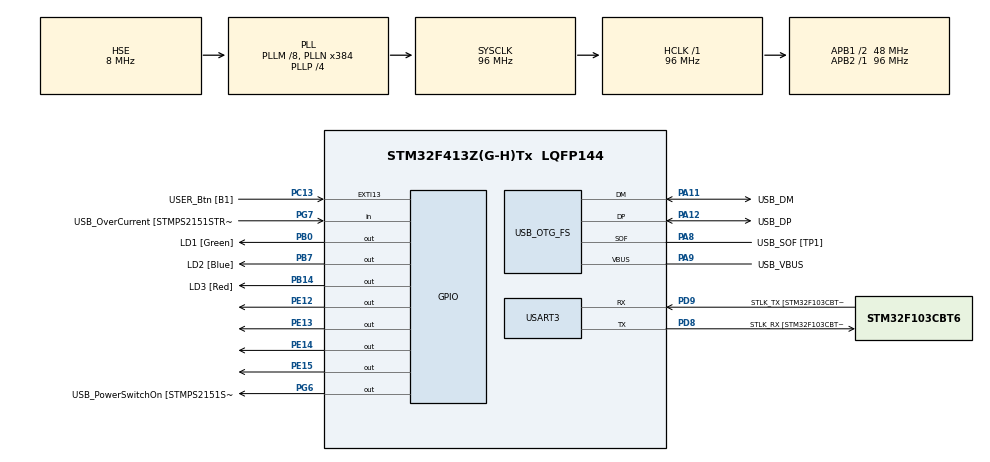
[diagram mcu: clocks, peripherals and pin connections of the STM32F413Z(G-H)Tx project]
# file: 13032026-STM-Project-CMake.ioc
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FREERTOS.Tasks01=defaultTask,24,128,StartDefaultTask,Default,NULL,Dynamic,NULL,NULL;myTaskTest02,8,128,StartTaskTest02,Default,NULL,Dynamic,NULL,NULL
FREERTOS.configUSE_APPLICATION_TASK_TAG=1
Mcu.Family=STM32F4
Mcu.Name=STM32F413Z(G-H)Tx
Mcu.Package=LQFP144
NVIC.PriorityGroup=NVIC_PRIORITYGROUP_4
NVIC.TIM7_IRQn=true\:15\:0\:false\:false\:true\:false\:false\:true\:true
NVIC.TimeBase=TIM7_IRQn
NVIC.TimeBaseIP=TIM7
PA10.GPIO_Label=USB_ID
PA10.Signal=USB_OTG_FS_ID
PA11.GPIO_Label=USB_DM
PA11.Mode=Device_Only
PA11.Signal=USB_OTG_FS_DM
PA12.GPIO_Label=USB_DP
PA12.Mode=Device_Only
PA12.Signal=USB_OTG_FS_DP
PA13.GPIO_Label=TMS
PA13.Mode=Serial_Wire
PA13.Signal=SYS_JTMS-SWDIO
PA14.GPIO_Label=TCK
PA14.Mode=Serial_Wire
PA14.Signal=SYS_JTCK-SWCLK
PA8.GPIO_Label=USB_SOF [TP1]
PA8.Mode=Activate_SOF_FS
PA8.Signal=USB_OTG_FS_SOF
PA9.GPIO_Label=USB_VBUS
PA9.Mode=Activate_VBUS
PA9.Signal=USB_OTG_FS_VBUS
PB0.GPIO_Label=LD1 [Green]
PB0.Signal=GPIO_Output
PB14.GPIO_Label=LD3 [Red]
PB14.Signal=GPIO_Output
PB3.GPIO_Label=SWO
PB3.Signal=SYS_JTDO-SWO
PB7.GPIO_Label=LD2 [Blue]
PB7.Signal=GPIO_Output
PC13.GPIO_Label=USER_Btn [B1]
PC13.Signal=GPXTI13
PC14-OSC32_IN.Mode=LSE-External-Oscillator
PC14-OSC32_IN.Signal=RCC_OSC32_IN
PC15-OSC32_OUT.Mode=LSE-External-Oscillator
PC15-OSC32_OUT.Signal=RCC_OSC32_OUT
PD8.GPIO_Label=STLK_RX [STM32F103CBT6_PA3]
PD8.Mode=Asynchronous
PD8.Signal=USART3_TX
PD9.GPIO_Label=STLK_TX [STM32F103CBT6_PA2]
PD9.Mode=Asynchronous
PD9.Signal=USART3_RX
PE12.Signal=GPIO_Output
PE13.Signal=GPIO_Output
PE14.Signal=GPIO_Output
PE15.Signal=GPIO_Output
PG6.GPIO_Label=USB_PowerSwitchOn [STMPS2151STR_EN]
PG6.Signal=GPIO_Output
PG7.GPIO_Label=USB_OverCurrent [STMPS2151STR_FAULT]
PG7.Signal=GPIO_Input
PH0\ -\ OSC_IN.GPIO_Label=MCO
PH0\ -\ OSC_IN.Mode=HSE-External-Clock-Source
PH0\ -\ OSC_IN.Signal=RCC_OSC_IN
PH1\ -\ OSC_OUT.Mode=HSE-External-Clock-Source
PH1\ -\ OSC_OUT.Signal=RCC_OSC_OUT
ProjectManager.HeapSize=0x200
ProjectManager.StackSize=0x400
ProjectManager.TargetToolchain=CMake
RCC.48MHZClocksFreq_Value=24000000
RCC.AHBFreq_Value=96000000
RCC.APB1CLKDivider=RCC_HCLK_DIV2
RCC.APB1Freq_Value=48000000
RCC.APB1TimFreq_Value=96000000
RCC.APB2Freq_Value=96000000
RCC.APB2TimFreq_Value=96000000
RCC.CortexFreq_Value=96000000
RCC.HCLKFreq_Value=96000000
RCC.HSE_VALUE=8000000
RCC.HSI_VALUE=16000000
RCC.PLLM=8
RCC.PLLMUL=RCC_PLL_MUL9
RCC.PLLN=384
RCC.PLLP=RCC_PLLP_DIV4
RCC.PLLQ=8
RCC.PRESCALERUSB=RCC_USBCLKSOURCE_PLL_DIV1_5
RCC.SYSCLKFreq_VALUE=96000000
RCC.SYSCLKSource=RCC_SYSCLKSOURCE_PLLCLK
RCC.SYSCLKSourceVirtual=RCC_SYSCLKSOURCE_PLLCLK
RCC.USBFreq_Value=48000000
RCC.VCOOutputFreq_Value=384000000
USART3.VirtualMode=VM_ASYNC
USB_OTG_FS.VirtualMode=Device_Only
VP_FREERTOS_VS_CMSIS_V2.Mode=CMSIS_V2
VP_SYS_VS_tim7.Mode=TIM7
board=NUCLEO-F413ZH

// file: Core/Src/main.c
/* USER CODE BEGIN Header */
/**
  ******************************************************************************
  * @file           : main.c
  * @brief          : Main program body
  ******************************************************************************
  * @attention
  *
  * Copyright (c) 2026 STMicroelectronics.
  * All rights reserved.
  *
  * This software is licensed under terms that can be found in the LICENSE file
  * in the root directory of this software component.
  * If no LICENSE file comes with this software, it is provided AS-IS.
  *
  ******************************************************************************
  */
/* USER CODE END Header */
#include "main.h"
#include "cmsis_os.h"

/* USER CODE BEGIN Includes */
#include <stdint.h>
#include <stdio.h>
#include <string.h>
#include <sys/_types.h>
#include "semphr.h"
#include "stm32f4xx_hal_gpio.h"
#include "stm32f4xx_hal_uart.h"
/* USER CODE END Includes */

UART_HandleTypeDef huart3;

PCD_HandleTypeDef hpcd_USB_OTG_FS;

/* Definitions for defaultTask */
osThreadId_t defaultTaskHandle;
const osThreadAttr_t defaultTask_attributes = {
  .name = "defaultTask",
  .stack_size = 128 * 4,
  .priority = (osPriority_t) osPriorityNormal,
};
/* Definitions for myTaskTest02 */
osThreadId_t myTaskTest02Handle;
const osThreadAttr_t myTaskTest02_attributes = {
  .name = "myTaskTest02",
  .stack_size = 128 * 4,
  .priority = (osPriority_t) osPriorityLow,
};
/* USER CODE BEGIN PV */
BaseType_t xReturned;
TaskHandle_t xHandle = NULL;
char msg[40];
SemaphoreHandle_t xSemBlueTurn;
SemaphoreHandle_t xSemGreenTurn;
SemaphoreHandle_t xSemButtonPush;
QueueHandle_t xLEDQueue;
volatile uint32_t g_lastButtonIrqMs = 0;
/* USER CODE END PV */

void SystemClock_Config(void);
static void MX_GPIO_Init(void);
static void MX_USART3_UART_Init(void);
static void MX_USB_OTG_FS_PCD_Init(void);
void StartDefaultTask(void *argument);
void StartTaskTest02(void *argument);

/* USER CODE BEGIN PFP */
void Task0 (void * pvParameters);
void Task1 (void * pvParameters);
void ToggleRedTask( void * pvParameters );
void BinaryCounterTask(void * pvParameters);
void HUARTPollingTask(void * pvParameters);
void LEDNotifyTask(void * pvParameters);
/* USER CODE END PFP */

int main(void)
{

  /* MCU Configuration--------------------------------------------------------*/

  /* Reset of all peripherals, Initializes the Flash interface and the Systick. */
  HAL_Init();

  /* Configure the system clock */
  SystemClock_Config();

  /* Initialize all configured peripherals */
  MX_GPIO_Init();
  MX_USART3_UART_Init();
  MX_USB_OTG_FS_PCD_Init();
  /* USER CODE BEGIN 2 */
  int cx = snprintf(msg, 40, "Startup\r\n");
  if(cx>=0 && cx<100)
  {
    HAL_UART_Transmit(&huart3,(uint8_t *) msg, strlen(msg), 1000);
  }
  /* USER CODE END 2 */

  /* Init scheduler */
  osKernelInitialize();

  /* USER CODE BEGIN RTOS_SEMAPHORES */
  xSemGreenTurn = xSemaphoreCreateBinary();
  xSemBlueTurn = xSemaphoreCreateBinary();
  xSemButtonPush = xSemaphoreCreateBinary();
  if( xSemGreenTurn == NULL )
    {
        sprintf(msg, "Semaphore failed! \r\n");
        HAL_UART_Transmit(&huart3,(uint8_t *) msg, strlen(msg), 1000);
    }
    else
    {
        xSemaphoreGive(xSemGreenTurn);
    }
  if( xSemBlueTurn == NULL )
    {
        sprintf(msg, "Semaphore failed! \r\n");
        HAL_UART_Transmit(&huart3,(uint8_t *) msg, strlen(msg), 1000);
    }
    else
    {

    }
    if( xSemButtonPush == NULL )
    {
        sprintf(msg, "Semaphore failed! \r\n");
        HAL_UART_Transmit(&huart3,(uint8_t *) msg, strlen(msg), 1000);
    }
    else
    {

    }
  /* USER CODE END RTOS_SEMAPHORES */

  /* USER CODE BEGIN RTOS_QUEUES */
  /* add queues, ... */
  xLEDQueue = xQueueCreate(64, sizeof(unsigned char));
  /* USER CODE END RTOS_QUEUES */

  /* Create the thread(s) */
  /* creation of defaultTask */
  // defaultTaskHandle = osThreadNew(StartDefaultTask, NULL, &defaultTask_attributes);

  /* creation of myTaskTest02 */
  // myTaskTest02Handle = osThreadNew(StartTaskTest02, NULL, &myTaskTest02_attributes);

  /* USER CODE BEGIN RTOS_THREADS */
  xReturned = xTaskCreate( BinaryCounterTask, "BinaryCounterTask", 256, NULL, 1, &xHandle);
  if(xReturned == pdPASS){
    sprintf(msg, "BinaryCounter erfolgreich erstellt! \r\n");
  }
  else{
    sprintf(msg, "BinaryCounter FAILED! \r\n");
  }
  HAL_UART_Transmit(&huart3,(uint8_t *) msg, strlen(msg), 1000);

  // xReturned = xTaskCreate( Task0, "Task 01", 256, NULL, 1, &xHandle);
  // if (xReturned == pdPASS){
	// sprintf(msg, "T1 erfolgreich erstellt! \r\n");
  // }
  // else if (xReturned != pdPASS){
	// sprintf(msg, "T1 NICHT erstellt! \r\n");
  // }
  // HAL_UART_Transmit(&huart3, (uint8_t *)msg, strlen(msg), 1000);

  // xReturned = xTaskCreate( Task1, "Task 02", 256, NULL, 1, &xHandle);
  // if (xReturned == pdPASS){
	// sprintf(msg, "T2 erfolgreich erstellt! \r\n");
  // }
  // else if (xReturned != pdPASS){
	// sprintf(msg, "T2 NICHT erstellt! \r\n");
  // }
  // HAL_UART_Transmit(&huart3, (uint8_t *)msg, strlen(msg), 1000);

  xReturned = xTaskCreate( HUARTPollingTask, "UARTPOLL", 256, NULL, 1, &xHandle);
  if (xReturned == pdPASS){
	sprintf(msg, "UARTPOLL erfolgreich erstellt! \r\n");
  }
  else if (xReturned != pdPASS){
	sprintf(msg, "UARTPOLL NICHT erstellt! \r\n");
  }
  HAL_UART_Transmit(&huart3, (uint8_t *)msg, strlen(msg), 1000);

  xReturned = xTaskCreate( LEDNotifyTask, "LEDNotify", 256, NULL, 1, &xHandle);
  if (xReturned == pdPASS){
	sprintf(msg, "LEDNotify erfolgreich erstellt! \r\n");
  }
  else if (xReturned != pdPASS){
	sprintf(msg, "LEDNotify NICHT erstellt! \r\n");
  }
  HAL_UART_Transmit(&huart3, (uint8_t *)msg, strlen(msg), 1000);

  // xReturned = xTaskCreate( ToggleRedTask, "Task 03", 256, NULL, 1, &xHandle);
  // if (xReturned == pdPASS){
	// sprintf(msg, "T3 erfolgreich erstellt! \r\n");
  // }
  // else if (xReturned != pdPASS){
	// sprintf(msg, "T3 NICHT erstellt! \r\n");
  // }
  // HAL_UART_Transmit(&huart3, (uint8_t *)msg, strlen(msg), 1000);

  /* USER CODE END RTOS_THREADS */

  /* Start scheduler */
  osKernelStart();

  /* We should never get here as control is now taken by the scheduler */

  /* Infinite loop */
  while (1)
  {

  }
}

void SystemClock_Config(void)
{
  RCC_OscInitTypeDef RCC_OscInitStruct = {0};
  RCC_ClkInitTypeDef RCC_ClkInitStruct = {0};

  /** Configure the main internal regulator output voltage
  */
  __HAL_RCC_PWR_CLK_ENABLE();
  __HAL_PWR_VOLTAGESCALING_CONFIG(PWR_REGULATOR_VOLTAGE_SCALE1);

  /** Initializes the RCC Oscillators according to the specified parameters
  * in the RCC_OscInitTypeDef structure.
  */
  RCC_OscInitStruct.OscillatorType = RCC_OSCILLATORTYPE_HSE;
  RCC_OscInitStruct.HSEState = RCC_HSE_BYPASS;
  RCC_OscInitStruct.PLL.PLLState = RCC_PLL_ON;
  RCC_OscInitStruct.PLL.PLLSource = RCC_PLLSOURCE_HSE;
  RCC_OscInitStruct.PLL.PLLM = 8;
  RCC_OscInitStruct.PLL.PLLN = 384;
  RCC_OscInitStruct.PLL.PLLP = RCC_PLLP_DIV4;
  RCC_OscInitStruct.PLL.PLLQ = 8;
  RCC_OscInitStruct.PLL.PLLR = 2;
  if (HAL_RCC_OscConfig(&RCC_OscInitStruct) != HAL_OK)
  {
    Error_Handler();
  }

  /** Initializes the CPU, AHB and APB buses clocks
  */
  RCC_ClkInitStruct.ClockType = RCC_CLOCKTYPE_HCLK|RCC_CLOCKTYPE_SYSCLK
                              |RCC_CLOCKTYPE_PCLK1|RCC_CLOCKTYPE_PCLK2;
  RCC_ClkInitStruct.SYSCLKSource = RCC_SYSCLKSOURCE_PLLCLK;
  RCC_ClkInitStruct.AHBCLKDivider = RCC_SYSCLK_DIV1;
  RCC_ClkInitStruct.APB1CLKDivider = RCC_HCLK_DIV2;
  RCC_ClkInitStruct.APB2CLKDivider = RCC_HCLK_DIV1;

  if (HAL_RCC_ClockConfig(&RCC_ClkInitStruct, FLASH_LATENCY_3) != HAL_OK)
  {
    Error_Handler();
  }
}

static void MX_USART3_UART_Init(void)
{

  huart3.Instance = USART3;
  huart3.Init.BaudRate = 115200;
  huart3.Init.WordLength = UART_WORDLENGTH_8B;
  huart3.Init.StopBits = UART_STOPBITS_1;
  huart3.Init.Parity = UART_PARITY_NONE;
  huart3.Init.Mode = UART_MODE_TX_RX;
  huart3.Init.HwFlowCtl = UART_HWCONTROL_NONE;
  huart3.Init.OverSampling = UART_OVERSAMPLING_16;
  if (HAL_UART_Init(&huart3) != HAL_OK)
  {
    Error_Handler();
  }

}

static void MX_USB_OTG_FS_PCD_Init(void)
{

  hpcd_USB_OTG_FS.Instance = USB_OTG_FS;
  hpcd_USB_OTG_FS.Init.dev_endpoints = 6;
  hpcd_USB_OTG_FS.Init.speed = PCD_SPEED_FULL;
  hpcd_USB_OTG_FS.Init.dma_enable = DISABLE;
  hpcd_USB_OTG_FS.Init.phy_itface = PCD_PHY_EMBEDDED;
  hpcd_USB_OTG_FS.Init.Sof_enable = ENABLE;
  hpcd_USB_OTG_FS.Init.low_power_enable = DISABLE;
  hpcd_USB_OTG_FS.Init.lpm_enable = DISABLE;
  hpcd_USB_OTG_FS.Init.battery_charging_enable = ENABLE;
  hpcd_USB_OTG_FS.Init.vbus_sensing_enable = ENABLE;
  hpcd_USB_OTG_FS.Init.use_dedicated_ep1 = DISABLE;
  if (HAL_PCD_Init(&hpcd_USB_OTG_FS) != HAL_OK)
  {
    Error_Handler();
  }

}

static void MX_GPIO_Init(void)
{
  GPIO_InitTypeDef GPIO_InitStruct = {0};

  /* GPIO Ports Clock Enable */
  __HAL_RCC_GPIOC_CLK_ENABLE();
  __HAL_RCC_GPIOH_CLK_ENABLE();
  __HAL_RCC_GPIOB_CLK_ENABLE();
  __HAL_RCC_GPIOE_CLK_ENABLE();
  __HAL_RCC_GPIOD_CLK_ENABLE();
  __HAL_RCC_GPIOG_CLK_ENABLE();
  __HAL_RCC_GPIOA_CLK_ENABLE();

  /*Configure GPIO pin Output Level */
  HAL_GPIO_WritePin(GPIOB, LD1_Pin|LD3_Pin|LD2_Pin, GPIO_PIN_RESET);

  /*Configure GPIO pin Output Level */
  HAL_GPIO_WritePin(GPIOE, GPIO_PIN_12|GPIO_PIN_13|GPIO_PIN_14|GPIO_PIN_15, GPIO_PIN_RESET);

  /*Configure GPIO pin Output Level */
  HAL_GPIO_WritePin(USB_PowerSwitchOn_GPIO_Port, USB_PowerSwitchOn_Pin, GPIO_PIN_RESET);

  /*Configure GPIO pin : USER_Btn_Pin */
  GPIO_InitStruct.Pin = USER_Btn_Pin;
  GPIO_InitStruct.Mode = GPIO_MODE_IT_RISING;
  GPIO_InitStruct.Pull = GPIO_NOPULL;
  HAL_GPIO_Init(USER_Btn_GPIO_Port, &GPIO_InitStruct);

  /*Configure GPIO pins : LD1_Pin LD3_Pin LD2_Pin */
  GPIO_InitStruct.Pin = LD1_Pin|LD3_Pin|LD2_Pin;
  GPIO_InitStruct.Mode = GPIO_MODE_OUTPUT_PP;
  GPIO_InitStruct.Pull = GPIO_NOPULL;
  GPIO_InitStruct.Speed = GPIO_SPEED_FREQ_LOW;
  HAL_GPIO_Init(GPIOB, &GPIO_InitStruct);

  /*Configure GPIO pins : PE12 PE13 PE14 PE15 */
  GPIO_InitStruct.Pin = GPIO_PIN_12|GPIO_PIN_13|GPIO_PIN_14|GPIO_PIN_15;
  GPIO_InitStruct.Mode = GPIO_MODE_OUTPUT_PP;
  GPIO_InitStruct.Pull = GPIO_NOPULL;
  GPIO_InitStruct.Speed = GPIO_SPEED_FREQ_LOW;
  HAL_GPIO_Init(GPIOE, &GPIO_InitStruct);

  /*Configure GPIO pin : USB_PowerSwitchOn_Pin */
  GPIO_InitStruct.Pin = USB_PowerSwitchOn_Pin;
  GPIO_InitStruct.Mode = GPIO_MODE_OUTPUT_PP;
  GPIO_InitStruct.Pull = GPIO_NOPULL;
  GPIO_InitStruct.Speed = GPIO_SPEED_FREQ_LOW;
  HAL_GPIO_Init(USB_PowerSwitchOn_GPIO_Port, &GPIO_InitStruct);

  /*Configure GPIO pin : USB_OverCurrent_Pin */
  GPIO_InitStruct.Pin = USB_OverCurrent_Pin;
  GPIO_InitStruct.Mode = GPIO_MODE_INPUT;
  GPIO_InitStruct.Pull = GPIO_NOPULL;
  HAL_GPIO_Init(USB_OverCurrent_GPIO_Port, &GPIO_InitStruct);

  /* USER CODE BEGIN MX_GPIO_Init_2 */
  HAL_NVIC_SetPriority(EXTI15_10_IRQn, 5, 0);
  HAL_NVIC_EnableIRQ(EXTI15_10_IRQn);
  /* USER CODE END MX_GPIO_Init_2 */
}

/* USER CODE BEGIN 4 */
void Task0 (void * pvParameters)
{
  vTaskSetApplicationTaskTag( NULL, ( void * ) 1 );
  for(;;);
}

void Task1 (void * pvParameters)
{
  vTaskSetApplicationTaskTag( NULL, ( void * ) 2);
  for(;;);
}

//-----------------------------------------------------
void ToggleRedTask( void * pvParameters )
{
	vTaskSetApplicationTaskTag( NULL, ( void * ) 3 );
    for( ;; )
    {
    LED_red_toggle();
    for (int i=0; i<100; i++);
    }
}
//-----------------------------------------------------
void BinaryCounterTask(void * pvParameters)
{
  vTaskSetApplicationTaskTag( NULL, ( void * ) 3 );
  int8_t toggleBlueCounter = 0;
  int8_t toggleRedCounter = 0;
  for( ;; )
    {
      if( xSemButtonPush!= NULL )
      {
          // Obtain the semaphore - don't block if the semaphore is not
          // immediately available.
          if( xSemaphoreTake( xSemButtonPush, portMAX_DELAY) )
          {
            // We now have the semaphore and can access the shared resource.
            toggleBlueCounter++;
            toggleRedCounter ++;
            LED_green_toggle();
            if(toggleBlueCounter>1)
            {
              LED_blue_toggle();
              toggleBlueCounter = 0;
            }
            if(toggleRedCounter>3)
            {
              LED_red_toggle();
              toggleRedCounter = 0;
            }
            // We have finished accessing the shared resource so can free the
            // semaphore.
            vTaskDelay(0);
          }
      }
    }
}
void LEDNotifyTask(void * pvParameters){
  vTaskSetApplicationTaskTag( NULL, ( void * ) 2 );
  uint8_t c;
  uint8_t lineBuffer[64];
  size_t idx = 0;
  for(;;){
    if(xQueueReceive(xLEDQueue, &c, portMAX_DELAY) == pdTRUE){
      if (c == '\r') {
        continue;
      }

      if (c == '\n') {
        if (idx < sizeof(lineBuffer) - 1U) {
          lineBuffer[idx++] = '\n';
        }
        if (idx > 0U) {
          HAL_UART_Transmit(&huart3, lineBuffer, idx, 1000);
        }
        idx = 0;
      } else {
        if (idx < sizeof(lineBuffer)) {
          lineBuffer[idx++] = c;
        } else {
          HAL_UART_Transmit(&huart3, lineBuffer, idx, 1000);
          idx = 0;
          lineBuffer[idx++] = c;
        }
      }
    }
  }
}

void HUARTPollingTask(void * pvParameters){
  vTaskSetApplicationTaskTag( NULL, ( void * ) 1 );
  uint8_t c;
  HAL_StatusTypeDef status;
  for(;;){
    status = HAL_UART_Receive(&huart3, &c, 1, HAL_MAX_DELAY);
    if(status == HAL_OK){
      (void)xQueueSend(xLEDQueue, &c, portMAX_DELAY);
    }
  }
}

void HAL_GPIO_EXTI_Callback(uint16_t GPIO_Pin)
{
  BaseType_t xHigherPriorityTaskWoken = pdFALSE;

  if (GPIO_Pin == USER_Btn_Pin)
  {
    __disable_irq();
    uint32_t now = HAL_GetTick();
    if ((uint32_t)(now - g_lastButtonIrqMs) >= 200U)
    {
      g_lastButtonIrqMs = now;
      xSemaphoreGiveFromISR(xSemButtonPush, &xHigherPriorityTaskWoken);
      portYIELD_FROM_ISR(xHigherPriorityTaskWoken);
    }
    __enable_irq();
  }
}

//-----------------------------------------------------

void SetPin( int x, int y ) {
	HAL_GPIO_WritePin(GPIOE, (1<<(y+11)), GPIO_PIN_SET);
}

void ResetPin( int x, int y ) {
	HAL_GPIO_WritePin(GPIOE, (1<<(y+11)), GPIO_PIN_RESET);
}
/* USER CODE END 4 */

void StartDefaultTask(void *argument)
{
  for(;;)
  {
    osDelay(1);
  }
}

void StartTaskTest02(void *argument)
{
  for(;;)
  {
    osDelay(1);
  }
}

void HAL_TIM_PeriodElapsedCallback(TIM_HandleTypeDef *htim)
{
  if (htim->Instance == TIM7)
  {
    HAL_IncTick();
  }
}

void Error_Handler(void)
{
  __disable_irq();
  while (1)
  {
  }
}
